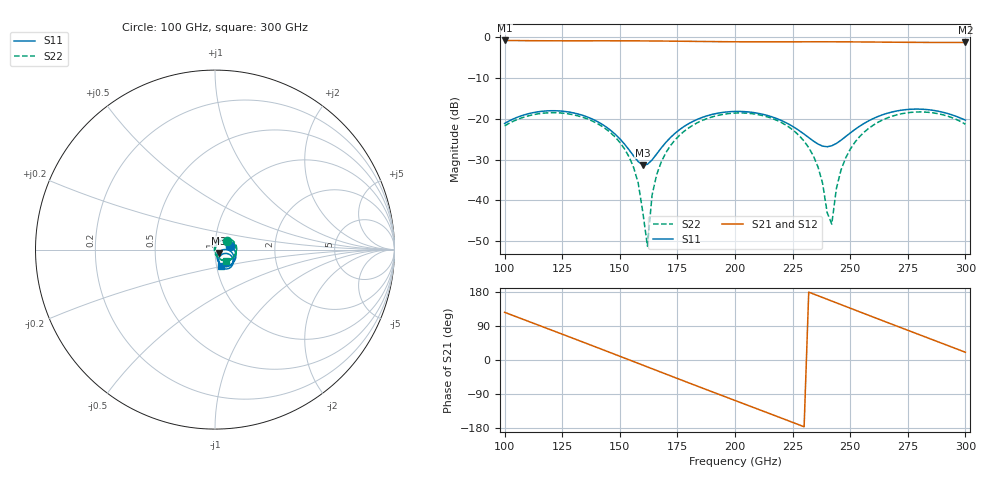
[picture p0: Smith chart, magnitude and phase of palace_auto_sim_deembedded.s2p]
! Created with skrf 1.11.0 (http://scikit-rf.org).
# GHz S DB R 50.0
!freq dBS11 angS11 dBS21 angS21 dBS12 angS12 dBS22 angS22
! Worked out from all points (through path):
!   101 points, 100 GHz to 300 GHz, reference 50 ohm
!   highest |S21| = -0.79 dB at 100 GHz (marker M1); lowest = -1.3 dB at 300 GHz (marker M2)
!   group delay of S21, straight-line fit = 6.47 ps
!   lowest |S11| = -31.3 dB at 160 GHz (marker M3), VSWR 1.06, Z = 52 - j1.93 ohm
!   |S11| at or under -10 dB: start of sweep to end of sweep
!   |S22| runs from -51.2 to -18.3 dB; largest |S21 - S12| = 1.1e-14
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100  -21.13 11.5  -0.79 125.9  -0.79 125.9  -21.75 37.1
116  -18.17 -20.1  -0.86 88.9  -0.86 88.9  -18.67 5.3
134  -19.17 -55.8  -0.88 47.3  -0.88 47.3  -19.64 -32.4
152  -26.17 -75.8  -0.88 5.2  -0.88 5.2  -27.33 -70.0
158  -30.50 -57.6  -0.90 -8.9  -0.90 -8.9  -35.80 -79.6
160  -31.33 -43.2  -0.90 -13.6  -0.90 -13.6  -42.96 -77.0
162  -31.15 -27.3  -0.91 -18.3  -0.91 -18.3  -51.22 52.4
164  -30.08 -14.3  -0.92 -23.0  -0.92 -23.0  -38.72 74.3
168  -27.14 -1.3  -0.94 -32.4  -0.94 -32.4  -30.56 70.2
180  -21.15 -6.3  -1.01 -60.5  -1.01 -60.5  -22.19 46.0
200  -18.20 -38.4  -1.12 -106.8  -1.12 -106.8  -18.59 3.2
220  -20.38 -67.4  -1.14 -152.9  -1.14 -152.9  -20.87 -41.7
234  -25.44 -65.3  -1.12 174.4  -1.12 174.4  -29.08 -77.6
238  -26.69 -52.8  -1.12 165.0  -1.12 165.0  -35.76 -93.7
240  -26.85 -44.6  -1.12 160.3  -1.12 160.3  -42.98 -115.9
242  -26.62 -36.5  -1.12 155.6  -1.12 155.6  -45.81 133.6
244  -26.04 -29.5  -1.12 150.9  -1.12 150.9  -37.11 99.6
250  -23.48 -18.7  -1.14 136.8  -1.14 136.8  -27.47 75.5
258  -20.50 -20.4  -1.17 118.0  -1.17 118.0  -22.36 54.6
268  -18.35 -32.2  -1.22 94.7  -1.22 94.7  -19.40 30.5
282  -17.68 -52.5  -1.27 62.2  -1.27 62.2  -18.34 -2.6
300  -20.33 -71.3  -1.29 20.4  -1.29 20.4  -21.33 -46.5
